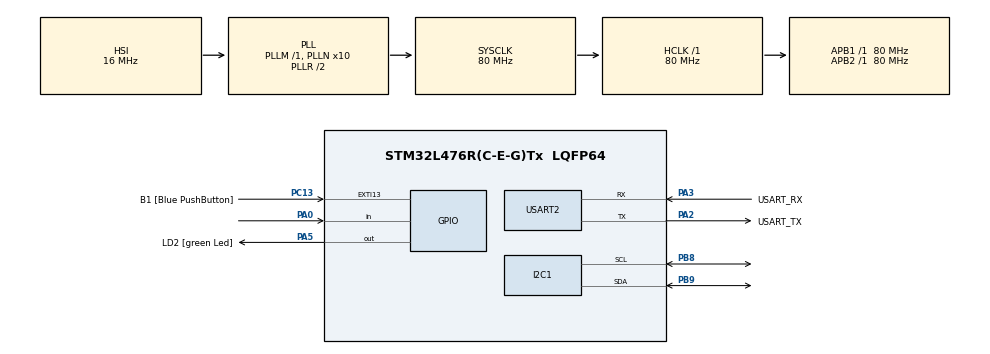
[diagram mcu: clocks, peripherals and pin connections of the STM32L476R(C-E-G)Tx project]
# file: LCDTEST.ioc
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I2C1.Timing=0x10909CEC
Mcu.Family=STM32L4
Mcu.Name=STM32L476R(C-E-G)Tx
Mcu.Package=LQFP64
NVIC.PriorityGroup=NVIC_PRIORITYGROUP_4
PA0.Signal=GPIO_Input
PA13\ (JTMS-SWDIO).GPIO_Label=TMS
PA13\ (JTMS-SWDIO).Mode=Serial_Wire
PA13\ (JTMS-SWDIO).Signal=SYS_JTMS-SWDIO
PA14\ (JTCK-SWCLK).GPIO_Label=TCK
PA14\ (JTCK-SWCLK).Mode=Serial_Wire
PA14\ (JTCK-SWCLK).Signal=SYS_JTCK-SWCLK
PA2.GPIO_Label=USART_TX
PA2.GPIO_Mode=GPIO_MODE_AF_PP
PA2.GPIO_PuPd=GPIO_NOPULL
PA2.GPIO_Speed=GPIO_SPEED_FREQ_VERY_HIGH
PA2.Mode=Asynchronous
PA2.Signal=USART2_TX
PA3.GPIO_Label=USART_RX
PA3.GPIO_Mode=GPIO_MODE_AF_PP
PA3.GPIO_PuPd=GPIO_NOPULL
PA3.GPIO_Speed=GPIO_SPEED_FREQ_VERY_HIGH
PA3.Mode=Asynchronous
PA3.Signal=USART2_RX
PA5.GPIO_Label=LD2 [green Led]
PA5.GPIO_ModeDefaultOutputPP=GPIO_MODE_OUTPUT_PP
PA5.GPIO_PuPd=GPIO_NOPULL
PA5.GPIO_Speed=GPIO_SPEED_FREQ_LOW
PA5.Signal=GPIO_Output
PB3\ (JTDO-TRACESWO).GPIO_Label=SWO
PB3\ (JTDO-TRACESWO).Signal=SYS_JTDO-SWO
PB8.Mode=I2C
PB8.Signal=I2C1_SCL
PB9.Mode=I2C
PB9.Signal=I2C1_SDA
PC13.GPIO_Label=B1 [Blue PushButton]
PC13.GPIO_ModeDefaultEXTI=GPIO_MODE_IT_FALLING
PC13.GPIO_PuPd=GPIO_NOPULL
PC13.Signal=GPXTI13
PC14-OSC32_IN\ (PC14).Mode=LSE-External-Oscillator
PC14-OSC32_IN\ (PC14).Signal=RCC_OSC32_IN
PC15-OSC32_OUT\ (PC15).Mode=LSE-External-Oscillator
PC15-OSC32_OUT\ (PC15).Signal=RCC_OSC32_OUT
PH0-OSC_IN\ (PH0).Signal=RCC_OSC_IN
PH1-OSC_OUT\ (PH1).Signal=RCC_OSC_OUT
ProjectManager.HeapSize=0x200
ProjectManager.StackSize=0x400
ProjectManager.TargetToolchain=STM32CubeIDE
RCC.ADCFreq_Value=64000000
RCC.AHBFreq_Value=80000000
RCC.APB1Freq_Value=80000000
RCC.APB1TimFreq_Value=80000000
RCC.APB2Freq_Value=80000000
RCC.APB2TimFreq_Value=80000000
RCC.CortexFreq_Value=80000000
RCC.HCLKFreq_Value=80000000
RCC.HSE_VALUE=8000000
RCC.HSI_VALUE=16000000
RCC.MSI_VALUE=4000000
RCC.PLLN=10
RCC.PLLSourceVirtual=RCC_PLLSOURCE_HSI
RCC.SYSCLKFreq_VALUE=80000000
RCC.SYSCLKSource=RCC_SYSCLKSOURCE_PLLCLK
RCC.USBFreq_Value=64000000
RCC.VCOOutputFreq_Value=160000000
USART2.VirtualMode-Asynchronous=VM_ASYNC
board=NUCLEO-L476RG

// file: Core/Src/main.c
/* USER CODE BEGIN Header */
/**
  ******************************************************************************
  * @file           : main.c
  * @brief          : Main program body
  ******************************************************************************
  * @attention
  *
  * Copyright (c) 2023 STMicroelectronics.
  * All rights reserved.
  *
  * This software is licensed under terms that can be found in the LICENSE file
  * in the root directory of this software component.
  * If no LICENSE file comes with this software, it is provided AS-IS.
  *
  ******************************************************************************
  */
/* USER CODE END Header */
#include "main.h"
#include "i2c.h"
#include "usart.h"
#include "gpio.h"
#include "calcullux.h"

/* USER CODE BEGIN Includes */
#include "lib_lcd.h"
#include "string.h"
#include <stdlib.h>
#include <stdio.h>
#include <math.h>
static rgb_lcd data;
static SHT_31 sht;
//static const uint8_t SHT31_ADDR = 0x40;
//static const uint8_t REG_TEMP = 0x11;

/* USER CODE END Includes */

/* USER CODE BEGIN PTD */
//I2C_HandleTypeDef hi2c1;
/* USER CODE END PTD */

void SystemClock_Config(void);
void MX_GPIO_Init(void);
void MX_I2C1_Init(void);

int main(void)
{

  /* MCU Configuration--------------------------------------------------------*/

  /* Reset of all peripherals, Initializes the Flash interface and the Systick. */
  HAL_Init();

  /* USER CODE BEGIN Init */
  uint8_t buf[15];
  //HAL_StatusTypeDef ret;
  float temp_c;
  float hydro_c;
  int retmes;
  /* USER CODE END Init */

  /* Configure the system clock */
  SystemClock_Config();

  /* Initialize all configured peripherals */
  MX_GPIO_Init();
  MX_USART2_UART_Init();
  MX_I2C1_Init();
  /* USER CODE BEGIN 2 */

// initialisation
  sht31_init();
  lcd_init(&hi2c1,&data);

  clearlcd();

lcd_position(&hi2c1,0,0);
lcd_print(&hi2c1,"     HELLO!     ");
HAL_Delay(3000);
lcd_position(&hi2c1,0,0);
  /* USER CODE END 2 */

  /* Infinite loop */
  /* USER CODE BEGIN WHILE */
  while (1)
  {

//=========================================partie temp et humid ==============================================

	  retmes = sht31_read(&sht);
		if(retmes){
			reglagecouleur(4,4,4);
			  lcd_print(&hi2c1,"T");
			  lcd_write(&hi2c1,0b11011111);
			  lcd_print(&hi2c1,"=              ");
			  lcd_position(&hi2c1,0,1);
			  lcd_print(&hi2c1,"H");
			  lcd_write(&hi2c1,0b00100101);
			  lcd_print(&hi2c1,"=              ");
			temp_c = 100*(sht.temp);
			hydro_c = 100*(sht.hydro);
				buf[0]= (int)temp_c/1000;
				buf[1]= (int)(temp_c - buf[0]*1000)/100;
				buf[2]= (int)(temp_c - buf[0]*1000 - buf[1]*100)/10;
				buf[3]= (int)(temp_c - buf[0]*1000 - buf[1]*100 - buf[2]*10);
				lcd_position(&hi2c1,3,0);
				lcd_write(&hi2c1,0x3F & (buf[0])+0x30);
				lcd_write(&hi2c1,0x3F & (buf[1])+0x30);
				lcd_print(&hi2c1,".");
				lcd_write(&hi2c1,0x3F & (buf[2])+0x30);
				lcd_write(&hi2c1,0x3F & (buf[3])+0x30);
				if(sht.temp>50)
					{reglagecouleur(0xFF,0,0);
					lcd_print(&hi2c1," ALARM");}
				buf[4]= (int)hydro_c/1000;
				buf[5]= (int)(hydro_c - buf[4]*1000)/100;
				buf[6]= (int)(hydro_c - buf[4]*1000 - buf[5]*100)/10;
				buf[7]= (int)(hydro_c - buf[4]*1000 - buf[5]*100 - buf[6]*10);
				lcd_position(&hi2c1,3,1);
				lcd_write(&hi2c1,0x3F & (buf[4])+0x30);
				lcd_write(&hi2c1,0x3F & (buf[5])+0x30);
				lcd_print(&hi2c1,".");
				lcd_write(&hi2c1,0x3F & (buf[6])+0x30);
				lcd_write(&hi2c1,0x3F & (buf[7])+0x30);
				if(sht.hydro>100)
					{reglagecouleur(0xFF,0,0);
					lcd_print(&hi2c1," ALARM");}

				  }
		if(retmes == -1 )
		  {reglagecouleur(0xFF,0,0);
		  lcd_position(&hi2c1,0,1);
		  lcd_print(&hi2c1,"  erreur trans");
		  }
		if(retmes == -2 )
	  	  {reglagecouleur(0xFF,0,0);
	  	  lcd_position(&hi2c1,0,1);
	  	  lcd_print(&hi2c1,"  erreur recep");
		  }
//===============================================================================================================

		  HAL_Delay(2000);

		  /* USER CODE END WHILE */

}
}

void SystemClock_Config(void)
{
  RCC_OscInitTypeDef RCC_OscInitStruct = {0};
  RCC_ClkInitTypeDef RCC_ClkInitStruct = {0};

  /** Configure the main internal regulator output voltage
  */
  if (HAL_PWREx_ControlVoltageScaling(PWR_REGULATOR_VOLTAGE_SCALE1) != HAL_OK)
  {
    Error_Handler();
  }

  /** Initializes the RCC Oscillators according to the specified parameters
  * in the RCC_OscInitTypeDef structure.
  */
  RCC_OscInitStruct.OscillatorType = RCC_OSCILLATORTYPE_HSI;
  RCC_OscInitStruct.HSIState = RCC_HSI_ON;
  RCC_OscInitStruct.HSICalibrationValue = RCC_HSICALIBRATION_DEFAULT;
  RCC_OscInitStruct.PLL.PLLState = RCC_PLL_ON;
  RCC_OscInitStruct.PLL.PLLSource = RCC_PLLSOURCE_HSI;
  RCC_OscInitStruct.PLL.PLLM = 1;
  RCC_OscInitStruct.PLL.PLLN = 10;
  RCC_OscInitStruct.PLL.PLLP = RCC_PLLP_DIV7;
  RCC_OscInitStruct.PLL.PLLQ = RCC_PLLQ_DIV2;
  RCC_OscInitStruct.PLL.PLLR = RCC_PLLR_DIV2;
  if (HAL_RCC_OscConfig(&RCC_OscInitStruct) != HAL_OK)
  {
    Error_Handler();
  }

  /** Initializes the CPU, AHB and APB buses clocks
  */
  RCC_ClkInitStruct.ClockType = RCC_CLOCKTYPE_HCLK|RCC_CLOCKTYPE_SYSCLK
                              |RCC_CLOCKTYPE_PCLK1|RCC_CLOCKTYPE_PCLK2;
  RCC_ClkInitStruct.SYSCLKSource = RCC_SYSCLKSOURCE_PLLCLK;
  RCC_ClkInitStruct.AHBCLKDivider = RCC_SYSCLK_DIV1;
  RCC_ClkInitStruct.APB1CLKDivider = RCC_HCLK_DIV1;
  RCC_ClkInitStruct.APB2CLKDivider = RCC_HCLK_DIV1;

  if (HAL_RCC_ClockConfig(&RCC_ClkInitStruct, FLASH_LATENCY_4) != HAL_OK)
  {
    Error_Handler();
  }
}

void Error_Handler(void)
{
  __disable_irq();
  while (1)
  {
  }

}
